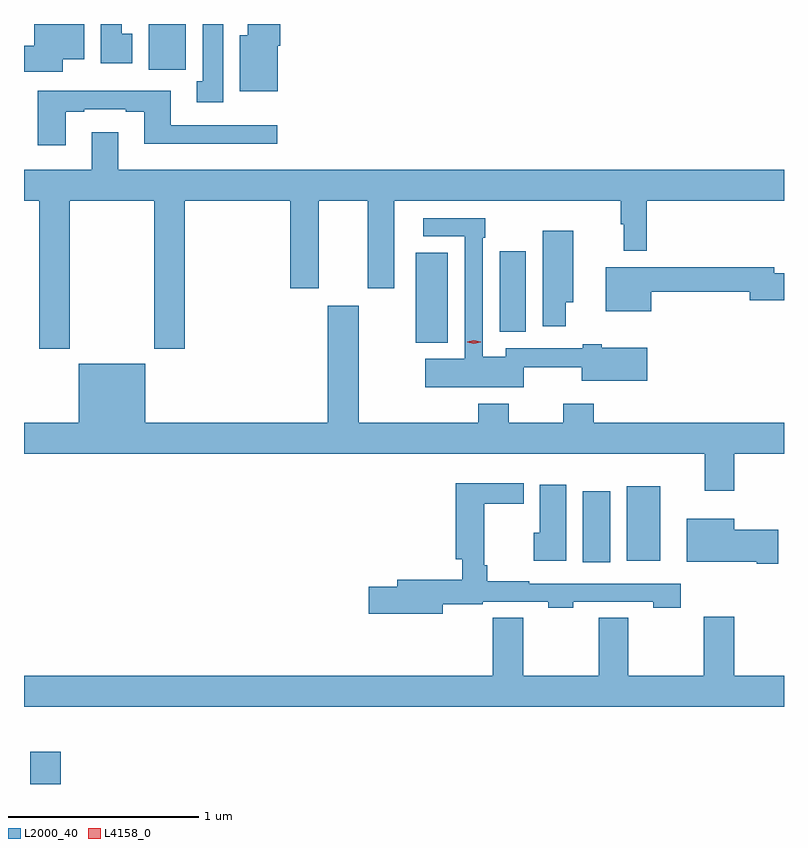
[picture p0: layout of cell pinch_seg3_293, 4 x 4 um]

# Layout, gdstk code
import gdstk
lib = gdstk.Library(unit=1e-6, precision=1e-09)
def R(c, l, rs):  # rectangles x0, y0, x1, y1
    for r in rs: c.add(gdstk.rectangle(r[:2], r[2:], *l))
def P(c, l, *ps):  # polygons
    for p in ps: c.add(gdstk.Polygon(p, *l))
L2000_40 = (2000, 40)
L4158_0 = (4158, 0)

pinch_seg3_293 = lib.new_cell('pinch_seg3_293')
R(pinch_seg3_293, L2000_40, [(980.735,724.486,980.896,724.657), (983.645,725.652,983.788,726.028), (983.876,725.66,984.052,726.052), (982.766,726.809,982.933,727.283), (983.207,726.865,983.344,727.291), (981.359,728.244,981.555,728.486)])
P(pinch_seg3_293, L2000_40, [(981.751,728.486),(981.644,728.486),(981.644,728.185),(981.611,728.185),(981.611,728.073),(981.751,728.073)],
  [(980.908,728.3),(981.019,728.3),(981.019,728.486),(980.756,728.486),(980.756,728.372),(980.703,728.372),(980.703,728.236),(980.908,728.236)],
  [(981.274,728.436),(981.217,728.436),(981.217,728.486),(981.107,728.486),(981.107,728.28),(981.274,728.28)],
  [(982.039,728.372),(982.052,728.372),(982.052,728.485),(981.881,728.485),(981.881,728.428),(981.839,728.428),(981.839,728.132),(982.039,728.132)],
  [(980.923,728.025),(981.019,728.025),(981.019,728.037),(981.239,728.037),(981.239,728.025),(981.335,728.025),(981.335,727.856),(982.036,727.856),(982.036,727.953),(981.475,727.953),(981.475,728.134),(980.776,728.134),(980.776,727.848),(980.923,727.848)],
  [(980.943,727.556),(981.388,727.556),(981.388,726.777),(981.548,726.777),(981.548,727.556),(982.103,727.556),(982.103,727.095),(982.255,727.095),(982.255,727.556),(982.511,727.556),(982.511,727.095),(982.651,727.095),(982.651,727.556),(983.845,727.556),(983.845,727.433),(983.86,727.433),(983.86,727.293),(983.981,727.293),(983.981,727.556),(984.703,727.556),(984.703,727.72),(981.199,727.72),(981.199,727.915),(981.059,727.915),(981.059,727.72),(980.703,727.72),(980.703,727.556),(980.783,727.556),(980.783,726.777),(980.943,726.777)],
  [(983.334,726.679),(983.639,726.679),(983.639,726.608),(983.983,726.608),(983.983,726.781),(983.743,726.781),(983.743,726.8),(983.643,726.8),(983.643,726.78),(983.238,726.78),(983.238,726.736),(983.118,726.736),(983.118,727.361),(983.131,727.361),(983.131,727.464),(982.803,727.464),(982.803,727.368),(983.022,727.368),(983.022,726.724),(982.815,726.724),(982.815,726.575),(983.334,726.575)],
  [(983.554,727.022),(983.593,727.022),(983.593,727.399),(983.432,727.399),(983.432,726.894),(983.554,726.894)],
  [(984.004,727.078),(984.524,727.078),(984.524,727.031),(984.703,727.031),(984.703,727.173),(984.652,727.173),(984.652,727.207),(983.765,727.207),(983.765,726.974),(984.004,726.974)],
  [(984.44,726.224),(984.703,726.224),(984.703,726.388),(983.702,726.388),(983.702,726.487),(983.542,726.487),(983.542,726.388),(983.253,726.388),(983.253,726.487),(983.093,726.487),(983.093,726.388),(982.465,726.388),(982.465,727.003),(982.301,727.003),(982.301,726.388),(981.34,726.388),(981.34,726.697),(980.99,726.697),(980.99,726.388),(980.703,726.388),(980.703,726.224),(984.287,726.224),(984.287,726.03),(984.44,726.03)],
  [(982.906,725.433),(983.118,725.433),(983.118,725.445),(983.463,725.445),(983.463,725.413),(983.595,725.413),(983.595,725.445),(984.015,725.445),(984.015,725.413),(984.16,725.413),(984.16,725.541),(983.363,725.541),(983.363,725.554),(983.141,725.554),(983.141,725.638),(983.126,725.638),(983.126,725.961),(983.332,725.961),(983.332,726.07),(982.976,726.07),(982.976,725.669),(983.009,725.669),(983.009,725.561),(982.667,725.561),(982.667,725.525),(982.518,725.525),(982.518,725.383),(982.906,725.383)],
  [(983.557,726.061),(983.417,726.061),(983.417,725.808),(983.387,725.808),(983.387,725.66),(983.557,725.66)],
  [(984.673,725.823),(984.442,725.823),(984.442,725.881),(984.191,725.881),(984.191,725.657),(984.56,725.657),(984.56,725.645),(984.673,725.645)],
  [(984.703,725.056),(984.44,725.056),(984.44,725.365),(984.28,725.365),(984.28,725.056),(983.882,725.056),(983.882,725.36),(983.728,725.36),(983.728,725.056),(983.33,725.056),(983.33,725.36),(983.171,725.36),(983.171,725.056),(980.703,725.056),(980.703,724.892),(984.703,724.892)])
P(pinch_seg3_293, L4158_0, [(983.071,726.802),(983.036,726.812),(983.036,726.812),(983.036,726.813),(983.071,726.822),(983.106,726.813),(983.106,726.812),(983.106,726.812)])

lib.write_gds('pinch_seg3_293.gds')
